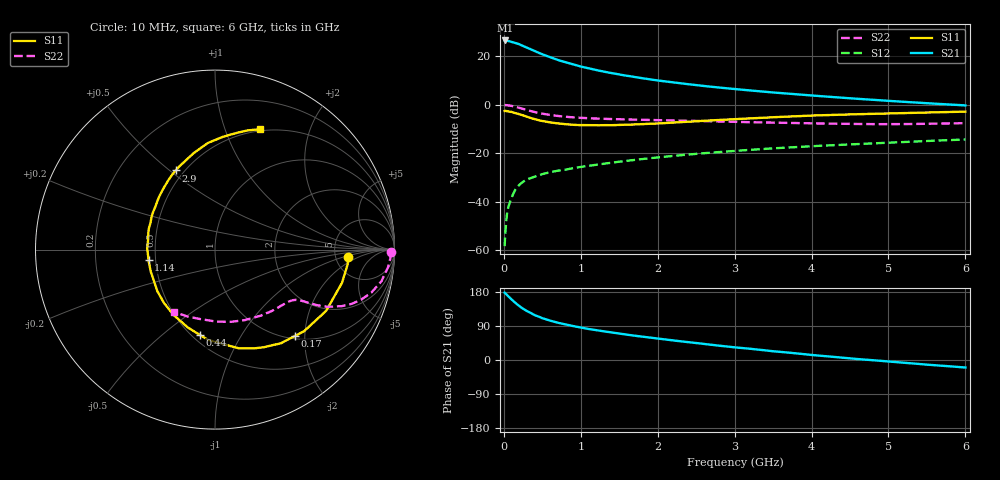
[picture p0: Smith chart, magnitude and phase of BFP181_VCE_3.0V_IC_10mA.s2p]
! Infineon Technologies  Discrete & RF Semiconductors
! BFP181
! VCE = 3.0 V,  IC =  10 mA
! Common Emitter S-Parameters:  Jan 2016
# GHz  S  MA  R  50
!  f  S11  S21  S12  S22
! GHz  MAG  ANG  MAG  ANG  MAG  ANG  MAG  ANG
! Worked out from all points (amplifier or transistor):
!   210 points, 10 MHz to 6 GHz, reference 50 ohm
!   highest |S21| = 26.5 dB at 20 MHz (marker M1)
!   |S21| within 3 dB of that: start of sweep to 304.2 MHz
!   unconditionally stable (mu >= 1): 1.114 GHz to end of sweep
!   at 185 MHz: K = 0.27, MSG = 29.4 dB, |S12| = -33.7 dB
!   at 1.52 GHz: K = 1.11, MAG = 15.9 dB, |S12| = -23.5 dB
!   at 6 GHz: K = 1.01, MAG = 6.4 dB, |S12| = -14.4 dB
!   S11 on the Smith chart (normalised r, x): 10 MHz: 6.47, -1.14; 170 MHz: 1.06, -1.78; 440 MHz: 0.55, -0.68; 1.14 GHz: 0.46, -0.06; 2.9 GHz: 0.45, +0.52; 6 GHz: 0.48, +1.33
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0.01  0.7394 -3.1  20.96 177.7  0.0012 80.7  0.98 -0.9
0.02  0.744 -6.2  21.1 176.0  0.0023 87.6  0.981 -2.1
0.05  0.7313 -14.7  20.81 169.6  0.0068 84.4  0.9702 -5.6
0.1  0.7068 -28.9  19.82 159.8  0.0119 75.6  0.944 -10.8
0.15  0.6732 -42.5  18.86 150.4  0.0176 69.8  0.9034 -15.4
0.17  0.6554 -47.3  18.32 147.3  0.0193 67.8  0.8853 -16.8
0.2  0.6379 -54.9  17.63 142.3  0.022 65.5  0.8593 -19.0
0.24  0.6076 -63.6  16.48 136.6  0.0249 61.9  0.8232 -21.4
0.3  0.565 -76.6  15.04 129.2  0.0285 58.4  0.7721 -24.1
0.4  0.5043 -94.5  12.78 118.4  0.0328 53.8  0.7017 -27.0
0.44  0.4826 -100.1  12 115.5  0.0344 52.4  0.681 -27.6
0.52  0.452 -111.8  10.62 109.2  0.0375 50.3  0.6426 -28.7
0.7  0.4112 -133.8  8.339 98.4  0.0434 49.1  0.5833 -30.0
1.02  0.3773 -162.5  6.021 84.9  0.0521 48.9  0.5316 -31.8
1.14  0.3745 -171.0  5.452 80.7  0.0557 48.8  0.5205 -32.7
1.5  0.3811 167.6  4.189 69.5  0.0664 48.5  0.4985 -35.9
2.02  0.4094 144.2  3.123 56.0  0.082 47.2  0.4782 -42.3
2.9  0.4922 116.4  2.172 35.6  0.1079 42.2  0.4458 -56.0
3.1  0.5107 111.3  2.03 31.6  0.1137 40.9  0.4378 -59.5
4.1  0.6009 92.3  1.503 11.6  0.1412 33.7  0.4087 -79.7
5.1  0.6653 78.7  1.17 -5.6  0.1663 26.6  0.3958 -102.7
6  0.717 69.3  0.964 -19.9  0.1907 19.6  0.4158 -123.7
